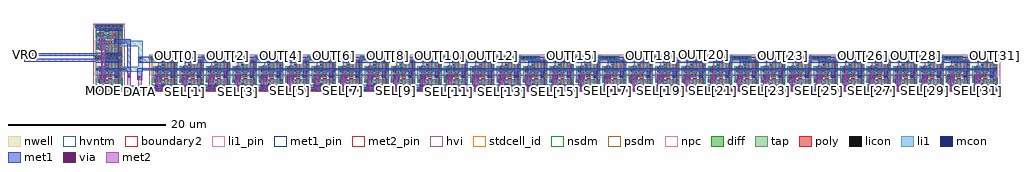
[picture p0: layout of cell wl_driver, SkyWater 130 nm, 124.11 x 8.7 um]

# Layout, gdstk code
import gdstk
lib = gdstk.Library(unit=1e-6, precision=1e-09)
def R(c, l, rs):  # rectangles x0, y0, x1, y1
    for r in rs: c.add(gdstk.rectangle(r[:2], r[2:], *l))
def A(c, l, x, y, w, h, nx, ny, dx, dy):  # array of equal rectangles
    R(c, l, [(x+i*dx, y+j*dy, x+i*dx+w, y+j*dy+h) for i in range(nx) for j in range(ny)])
def P(c, l, *ps):  # polygons
    for p in ps: c.add(gdstk.Polygon(p, *l))
nwell = (64, 20)
diff = (65, 20)
tap = (65, 44)
poly = (66, 20)
licon = (66, 44)
li1_pin = (67, 16)
li1 = (67, 20)
mcon = (67, 44)
met1_pin = (68, 16)
met1 = (68, 20)
via = (68, 44)
met2_pin = (69, 16)
met2 = (69, 20)
hvi = (75, 20)
stdcell_id = (81, 4)
nsdm = (93, 44)
psdm = (94, 20)
npc = (95, 20)
hvntm = (125, 20)
boundary2 = (236, 0)

sky130_fd_sc_hvl__einvp_ = lib.new_cell('sky130_fd_sc_hvl__einvp_1')
R(sky130_fd_sc_hvl__einvp_, nwell, [(-0.33,1.885,3.69,4.485)])
P(sky130_fd_sc_hvl__einvp_, diff, [(0.4,2.215),(0.4,2.965),(1.28,2.965),(1.28,3.715),(3.21,3.715),(3.21,2.215)],
  [(1.28,0.615),(1.28,0.945),(0.15,0.945),(0.15,1.365),(3.21,1.365),(3.21,0.615)])
R(sky130_fd_sc_hvl__einvp_, tap, [(0,-0.085,3.36,0.085), (0,3.985,2.04,4.155)])
P(sky130_fd_sc_hvl__einvp_, poly, [(1.395,1.705),(1.395,2.105),(1.565,2.105),(1.565,3.845),(2.065,3.845),(2.065,1.705)],
  [(0.435,0.14),(0.435,2.085),(0.685,2.085),(0.685,3.095),(1.185,3.095),(1.185,1.495),(0.935,1.495),(0.935,0.505),(1.565,0.505),(1.565,1.495),(2.065,1.495),(2.065,0.14)],
  [(2.425,0.485),(2.425,1.625),(2.275,1.625),(2.275,1.955),(2.425,1.955),(2.425,3.845),(2.925,3.845),(2.925,1.955),(2.945,1.955),(2.945,1.625),(2.925,1.625),(2.925,0.485)])
A(sky130_fd_sc_hvl__einvp_, licon, 0.155, -0.085, 0.17, 0.17, 7, 1, 0.48, 0)
A(sky130_fd_sc_hvl__einvp_, licon, 0.155, 3.985, 0.17, 0.17, 4, 1, 0.48, 0)
R(sky130_fd_sc_hvl__einvp_, licon, [(1.34,0.655,1.51,0.825), (2.98,0.655,3.15,0.825), (0.21,1.07,0.38,1.24), (0.99,1.07,1.16,1.24), (1.34,1.155,1.51,1.325), (2.98,1.155,3.15,1.325), (0.595,1.575,0.765,1.745), (0.935,1.575,1.105,1.745), (2.355,1.705,2.525,1.875), (2.695,1.705,2.865,1.875), (1.475,1.805,1.645,1.975), (1.815,1.805,1.985,1.975), (0.46,2.255,0.63,2.425), (2.98,2.255,3.15,2.425), (1.34,2.28,1.51,2.45), (2.98,2.67,3.15,2.84), (1.34,2.685,1.51,2.855), (0.46,2.755,0.63,2.925), (2.98,3.09,3.15,3.26), (1.34,3.1,1.51,3.27), (1.34,3.505,1.51,3.675), (2.98,3.505,3.15,3.675)])
A(sky130_fd_sc_hvl__einvp_, li1_pin, 3.035, 0.84, 0.17, 0.17, 1, 7, 0, 0.37)
A(sky130_fd_sc_hvl__einvp_, li1_pin, 2.555, 1.21, 0.17, 0.17, 1, 4, 0, 0.37)
R(sky130_fd_sc_hvl__einvp_, li1_pin, [(0.635,1.58,0.805,1.75), (1.115,1.58,1.285,1.75)])
R(sky130_fd_sc_hvl__einvp_, li1, [(0,-0.085,3.36,0.085), (0.515,1.505,1.305,1.75), (0,3.985,2.04,4.155)])
P(sky130_fd_sc_hvl__einvp_, li1, [(2.98,0.575),(2.98,1.455),(3.035,1.455),(3.035,2.125),(2.98,2.125),(2.98,4.485),(3.235,4.485),(3.235,0.575)],
  [(2.445,1.16),(2.445,1.625),(2.275,1.625),(2.275,1.955),(2.445,1.955),(2.445,2.54),(2.81,2.54),(2.81,1.955),(2.865,1.955),(2.865,1.625),(2.81,1.625),(2.81,1.16)],
  [(0.83,2.28),(0.83,3.755),(2.8,3.755),(2.8,2.71),(2.275,2.71),(2.275,2.28)],
  [(0.47,0.365),(0.47,0.735),(0.55,0.735),(0.55,1.335),(2.275,1.335),(2.275,0.99),(2.8,0.99),(2.8,0.365)],
  [(0.175,0.905),(0.175,3.005),(0.65,3.005),(0.65,2.1),(2.065,2.1),(2.065,1.725),(1.475,1.725),(1.475,1.93),(0.345,1.93),(0.345,1.335),(0.38,1.335),(0.38,0.905)])
A(sky130_fd_sc_hvl__einvp_, mcon, 0.47, 0.395, 0.17, 0.17, 7, 1, 0.36, 0)
A(sky130_fd_sc_hvl__einvp_, mcon, 0.83, 3.505, 0.17, 0.17, 6, 1, 0.36, 0)
R(sky130_fd_sc_hvl__einvp_, mcon, [(0.155,-0.085,0.325,0.085), (0.155,-0.085,0.325,0.085), (0.635,-0.085,0.805,0.085), (0.635,-0.085,0.805,0.085), (1.115,-0.085,1.285,0.085), (1.115,-0.085,1.285,0.085), (1.595,-0.085,1.765,0.085), (1.595,-0.085,1.765,0.085), (2.075,-0.085,2.245,0.085), (2.075,-0.085,2.245,0.085), (2.555,-0.085,2.725,0.085), (2.555,-0.085,2.725,0.085), (3.035,-0.085,3.205,0.085), (3.035,-0.085,3.205,0.085), (0.87,1.575,1.04,1.745), (2.5,1.705,2.67,1.875), (0.155,3.985,0.325,4.155), (0.155,3.985,0.325,4.155), (0.635,3.985,0.805,4.155), (0.635,3.985,0.805,4.155), (1.115,3.985,1.285,4.155), (1.115,3.985,1.285,4.155), (1.595,3.985,1.765,4.155), (1.595,3.985,1.765,4.155)])
R(sky130_fd_sc_hvl__einvp_, met1_pin, [(0,0,3.36,0.115), (0,0.255,3.36,0.625), (0,3.445,3.36,3.815), (0,3.955,2.82,4.07)])
R(sky130_fd_sc_hvl__einvp_, met1, [(0,-0.115,3.36,0.115), (0,0.255,3.36,0.625), (0.61,1.37,1.23,1.9), (2.42,1.54,2.82,2.49), (0,2.49,3.36,2.73), (0,3.445,3.36,3.815), (0,3.955,2.82,4.185)])
R(sky130_fd_sc_hvl__einvp_, via, [(0.87,1.57,1.04,1.74)])
R(sky130_fd_sc_hvl__einvp_, met2, [(0.7,-0.22,1.17,1.9)])
R(sky130_fd_sc_hvl__einvp_, hvi, [(-0.33,-0.265,3.69,4.485)])
R(sky130_fd_sc_hvl__einvp_, stdcell_id, [(0,0,3.36,4.07)])
R(sky130_fd_sc_hvl__einvp_, nsdm, [(0,0.215,3.36,1.885), (-0.13,3.855,2.31,4.285), (0,3.855,2.31,4.07)])
R(sky130_fd_sc_hvl__einvp_, psdm, [(-0.13,-0.215,3.49,0.215)])
P(sky130_fd_sc_hvl__einvp_, psdm, [(0,1.885),(0,3.855),(3.36,3.855),(3.36,1.985),(2.095,1.985),(2.095,2.085),(1.365,2.085),(1.365,1.885)])
P(sky130_fd_sc_hvl__einvp_, npc, [(0.495,1.475),(0.495,1.545),(0,1.545),(0,1.97),(1.375,1.97),(1.375,2.075),(2.085,2.075),(2.085,1.975),(3.36,1.975),(3.36,1.545),(1.205,1.545),(1.205,1.475)])
R(sky130_fd_sc_hvl__einvp_, hvntm, [(-0.035,0.35,3.395,1.64)])
R(sky130_fd_sc_hvl__einvp_, boundary2, [(0,0,3.36,4.07)])
sky130_fd_sc_hvl__einvp_.add(gdstk.Label('A', (2.64,2.035), layer=67, texttype=5))
sky130_fd_sc_hvl__einvp_.add(gdstk.Label('A', (2.64,1.665), layer=67, texttype=5))
sky130_fd_sc_hvl__einvp_.add(gdstk.Label('TE', (0.72,1.665), layer=67, texttype=5))
sky130_fd_sc_hvl__einvp_.add(gdstk.Label('TE', (1.2,1.665), layer=67, texttype=5))
sky130_fd_sc_hvl__einvp_.add(gdstk.Label('Z', (3.12,0.925), layer=67, texttype=5))
sky130_fd_sc_hvl__einvp_.add(gdstk.Label('Z', (3.12,1.295), layer=67, texttype=5))
sky130_fd_sc_hvl__einvp_.add(gdstk.Label('Z', (3.12,1.665), layer=67, texttype=5))
sky130_fd_sc_hvl__einvp_.add(gdstk.Label('Z', (3.12,2.035), layer=67, texttype=5))
sky130_fd_sc_hvl__einvp_.add(gdstk.Label('Z', (3.12,2.405), layer=67, texttype=5))
sky130_fd_sc_hvl__einvp_.add(gdstk.Label('Z', (3.12,2.775), layer=67, texttype=5))
sky130_fd_sc_hvl__einvp_.add(gdstk.Label('Z', (3.12,3.145), layer=67, texttype=5))
sky130_fd_sc_hvl__einvp_.add(gdstk.Label('A', (2.64,1.295), layer=67, texttype=5))
sky130_fd_sc_hvl__einvp_.add(gdstk.Label('A', (2.64,2.405), layer=67, texttype=5))
sky130_fd_sc_hvl__einvp_.add(gdstk.Label('einvp_1', (0,0), layer=83, texttype=44))
sky130_fd_sc_hvl__einvp_.add(gdstk.Label('VGND', (1.68,0.44), layer=68, texttype=5))
sky130_fd_sc_hvl__einvp_.add(gdstk.Label('VNB', (1.68,0.058), layer=68, texttype=5))
sky130_fd_sc_hvl__einvp_.add(gdstk.Label('VPWR', (1.68,3.63), layer=68, texttype=5))
sky130_fd_sc_hvl__einvp_.add(gdstk.Label('VPB', (1.68,4.013), layer=68, texttype=5))

sky130_fd_sc_hvl__einvn_ = lib.new_cell('sky130_fd_sc_hvl__einvn_1')
R(sky130_fd_sc_hvl__einvn_, nwell, [(-0.33,1.885,3.69,4.485)])
P(sky130_fd_sc_hvl__einvn_, diff, [(1.315,2.215),(1.315,2.235),(0.225,2.235),(0.225,2.985),(1.23,2.985),(1.23,3.715),(3.18,3.715),(3.18,2.215)],
  [(1.06,0.535),(1.06,0.865),(0.15,0.865),(0.15,1.285),(3.18,1.285),(3.18,0.535)])
R(sky130_fd_sc_hvl__einvn_, tap, [(0,-0.085,3.36,0.085), (0,3.985,2.82,4.155)])
P(sky130_fd_sc_hvl__einvn_, poly, [(0.415,0.735),(0.415,2.105),(0.51,2.105),(0.51,3.115),(1.01,3.115),(1.01,2.105),(1.565,2.105),(1.565,3.845),(2.065,3.845),(2.065,1.94),(1.185,1.94),(1.185,1.605),(0.915,1.605),(0.915,0.735)],
  [(1.685,0.405),(1.685,1.395),(1.395,1.395),(1.395,1.73),(2.065,1.73),(2.065,1.515),(2.185,1.515),(2.185,0.405)],
  [(2.395,0.405),(2.395,1.725),(2.275,1.725),(2.275,2.055),(2.395,2.055),(2.395,3.845),(2.895,3.845),(2.895,0.405)])
A(sky130_fd_sc_hvl__einvn_, licon, 0.155, -0.085, 0.17, 0.17, 7, 2, 0.48, 4.07)
R(sky130_fd_sc_hvl__einvn_, licon, [(1.12,0.575,1.29,0.745), (1.46,0.575,1.63,0.745), (2.95,0.575,3.12,0.745), (0.19,0.99,0.36,1.16), (0.97,1.075,1.14,1.245), (1.46,1.075,1.63,1.245), (2.95,1.075,3.12,1.245), (1.475,1.475,1.645,1.645), (1.815,1.475,1.985,1.645), (2.61,1.475,2.78,1.645), (2.355,1.805,2.525,1.975), (0.595,1.825,0.765,1.995), (0.935,1.825,1.105,1.995), (2.95,2.255,3.12,2.425), (0.285,2.275,0.455,2.445), (1.29,2.3,1.46,2.47), (2.95,2.67,3.12,2.84), (1.29,2.7,1.46,2.87), (0.285,2.775,0.455,2.945), (2.95,3.09,3.12,3.26), (1.29,3.105,1.46,3.275), (1.29,3.505,1.46,3.675), (2.95,3.505,3.12,3.675)])
A(sky130_fd_sc_hvl__einvn_, li1_pin, 3.035, 0.84, 0.17, 0.17, 1, 7, 0, 0.37)
A(sky130_fd_sc_hvl__einvn_, li1_pin, 2.555, 1.21, 0.17, 0.17, 1, 4, 0, 0.37)
A(sky130_fd_sc_hvl__einvn_, li1_pin, 0.635, 1.95, 0.17, 0.17, 3, 1, 0.48, 0)
R(sky130_fd_sc_hvl__einvn_, li1, [(0,-0.085,3.36,0.085), (2.95,0.495,3.235,3.755), (0,3.985,2.66,4.155)])
P(sky130_fd_sc_hvl__einvn_, li1, [(0.515,1.825),(0.515,2.025),(0.635,2.025),(0.635,2.12),(1.795,2.12),(1.795,1.825)],
  [(0.09,0.91),(0.09,3.025),(0.535,3.025),(0.535,2.3),(0.455,2.3),(0.455,2.195),(0.345,2.195),(0.345,1.645),(2.065,1.645),(2.065,1.425),(0.44,1.425),(0.44,0.91)],
  [(2.505,1.16),(2.505,1.725),(2.275,1.725),(2.275,2.54),(2.78,2.54),(2.78,1.16)],
  [(0.74,2.3),(0.74,3.755),(2.77,3.755),(2.77,2.71),(2.105,2.71),(2.105,2.3)],
  [(0.44,0.365),(0.44,0.74),(0.61,0.74),(0.61,1.245),(2.335,1.245),(2.335,0.9),(2.77,0.9),(2.77,0.365)])
A(sky130_fd_sc_hvl__einvn_, mcon, 0.44, 0.395, 0.17, 0.17, 7, 1, 0.36, 0)
A(sky130_fd_sc_hvl__einvn_, mcon, 0.77, 3.505, 0.17, 0.17, 6, 1, 0.36, 0)
R(sky130_fd_sc_hvl__einvn_, mcon, [(0.155,-0.085,0.325,0.085), (0.155,-0.085,0.325,0.085), (0.635,-0.085,0.805,0.085), (0.635,-0.085,0.805,0.085), (1.115,-0.085,1.285,0.085), (1.115,-0.085,1.285,0.085), (1.595,-0.085,1.765,0.085), (1.595,-0.085,1.765,0.085), (2.075,-0.085,2.245,0.085), (2.075,-0.085,2.245,0.085), (2.555,-0.085,2.725,0.085), (2.555,-0.085,2.725,0.085), (3.035,-0.085,3.205,0.085), (3.035,-0.085,3.205,0.085), (0.155,3.985,0.325,4.155), (0.155,3.985,0.325,4.155), (0.635,3.985,0.805,4.155), (0.635,3.985,0.805,4.155), (1.115,3.985,1.285,4.155), (1.115,3.985,1.285,4.155), (1.595,3.985,1.765,4.155), (1.595,3.985,1.765,4.155), (2.075,3.985,2.245,4.155), (2.075,3.985,2.245,4.155), (2.555,3.985,2.725,4.155), (2.555,3.985,2.725,4.155)])
R(sky130_fd_sc_hvl__einvn_, met1_pin, [(0,0,3.36,0.115), (0,0.255,3.36,0.625), (0,3.445,3.36,3.815), (0,3.955,2.82,4.07)])
R(sky130_fd_sc_hvl__einvn_, met1, [(0,-0.115,3.36,0.115), (0,0.255,3.36,0.625), (0,3.445,3.36,3.815), (0,3.955,2.82,4.185)])
R(sky130_fd_sc_hvl__einvn_, hvi, [(-0.33,-0.265,3.69,4.485)])
R(sky130_fd_sc_hvl__einvn_, stdcell_id, [(0,0,3.36,4.07)])
R(sky130_fd_sc_hvl__einvn_, nsdm, [(0,0.215,3.36,1.885), (-0.13,3.855,2.97,4.285), (0,3.855,3.36,4.07)])
R(sky130_fd_sc_hvl__einvn_, psdm, [(-0.13,-0.215,3.49,0.215)])
P(sky130_fd_sc_hvl__einvn_, psdm, [(0,1.885),(0,3.855),(3.36,3.855),(3.36,1.885),(2.635,1.885),(2.635,2.085),(2.245,2.085),(2.245,1.885),(1.215,1.885),(1.215,2.105),(0.485,2.105),(0.485,1.885)])
P(sky130_fd_sc_hvl__einvn_, npc, [(1.375,1.375),(1.375,1.545),(0,1.545),(0,1.97),(0.495,1.97),(0.495,2.095),(1.205,2.095),(1.205,1.97),(2.255,1.97),(2.255,2.075),(2.625,2.075),(2.625,1.97),(3.36,1.97),(3.36,1.545),(2.88,1.545),(2.88,1.375)])
R(sky130_fd_sc_hvl__einvn_, hvntm, [(-0.035,0.35,3.395,1.64)])
R(sky130_fd_sc_hvl__einvn_, boundary2, [(0,0,3.36,4.07)])
sky130_fd_sc_hvl__einvn_.add(gdstk.Label('TE_B', (0.72,2.035), layer=67, texttype=5))
sky130_fd_sc_hvl__einvn_.add(gdstk.Label('TE_B', (1.2,2.035), layer=67, texttype=5))
sky130_fd_sc_hvl__einvn_.add(gdstk.Label('TE_B', (1.68,2.035), layer=67, texttype=5))
sky130_fd_sc_hvl__einvn_.add(gdstk.Label('A', (2.64,1.295), layer=67, texttype=5))
sky130_fd_sc_hvl__einvn_.add(gdstk.Label('A', (2.64,2.405), layer=67, texttype=5))
sky130_fd_sc_hvl__einvn_.add(gdstk.Label('A', (2.64,1.665), layer=67, texttype=5))
sky130_fd_sc_hvl__einvn_.add(gdstk.Label('A', (2.64,2.035), layer=67, texttype=5))
sky130_fd_sc_hvl__einvn_.add(gdstk.Label('Z', (3.12,0.925), layer=67, texttype=5))
sky130_fd_sc_hvl__einvn_.add(gdstk.Label('Z', (3.12,1.295), layer=67, texttype=5))
sky130_fd_sc_hvl__einvn_.add(gdstk.Label('Z', (3.12,1.665), layer=67, texttype=5))
sky130_fd_sc_hvl__einvn_.add(gdstk.Label('Z', (3.12,2.035), layer=67, texttype=5))
sky130_fd_sc_hvl__einvn_.add(gdstk.Label('Z', (3.12,2.405), layer=67, texttype=5))
sky130_fd_sc_hvl__einvn_.add(gdstk.Label('Z', (3.12,2.775), layer=67, texttype=5))
sky130_fd_sc_hvl__einvn_.add(gdstk.Label('Z', (3.12,3.145), layer=67, texttype=5))
sky130_fd_sc_hvl__einvn_.add(gdstk.Label('einvn_1', (0,0), layer=83, texttype=44))
sky130_fd_sc_hvl__einvn_.add(gdstk.Label('VGND', (1.68,0.44), layer=68, texttype=5))
sky130_fd_sc_hvl__einvn_.add(gdstk.Label('VNB', (1.68,0.058), layer=68, texttype=5))
sky130_fd_sc_hvl__einvn_.add(gdstk.Label('VPWR', (1.68,3.63), layer=68, texttype=5))
sky130_fd_sc_hvl__einvn_.add(gdstk.Label('VPB', (1.68,4.013), layer=68, texttype=5))

wl_driver = lib.new_cell('wl_driver')
A(wl_driver, li1_pin, 6.74, 0.05, 0.25, 0.29, 32, 1, 3.36, 0)
R(wl_driver, li1, [(-0.38,-1.85,2.6,-1.19), (2.03,-1.85,2.6,2.12), (-0.41,1.43,2.5,2.12)])
R(wl_driver, mcon, [(2.23,-0.595,2.4,-0.425), (2.23,-0.235,2.4,-0.065), (2.23,-0.235,2.4,-0.065), (-2.49,1.955,-2.32,2.125), (-0.92,1.985,-0.75,2.155)])
R(wl_driver, met1_pin, [(-12.5,-0.53,-11.85,-0.17), (-12.5,0.19,-11.86,0.55)])
R(wl_driver, met1, [(-3.36,-4.17,111.28,-3.63), (1.91,-2.84,2.53,-2.31), (1.91,-2.84,2.53,-2.31), (1.91,-2.84,2.53,-2.31), (1.91,-2.84,2.53,-2.31), (1.91,-2.83,2.53,-1.41), (0.62,-2.59,1.06,2.31), (-0.05,-1.65,0.69,-1.41), (1.91,-1.65,3.76,-1.41), (2.03,-0.69,111.28,0.05), (-12.5,-0.53,-0.54,-0.17), (-12.5,0.19,0,0.55), (-2.66,1.76,-2.19,2.29), (-1.04,1.81,1.06,2.31), (-3.36,3.46,0,4.12)])
R(wl_driver, via, [(2.14,-2.61,2.31,-2.44), (0.75,-2.44,0.92,-2.27), (-2.49,1.96,-2.32,2.13)])
A(wl_driver, met2_pin, 4.46, -4.36, 0.47, 2.12, 32, 1, 3.36, 0)
R(wl_driver, met2_pin, [(0.62,-4.43,1.09,-2.31), (2,-4.43,2.47,-2.31), (-2.66,-4.36,-2.19,-2.24)])
R(wl_driver, met2, [(0.62,-4.43,1.09,-2.1), (2,-4.43,2.47,-2.31), (2,-4.43,2.47,-2.31), (2,-4.43,2.47,-2.31), (2,-4.43,2.47,-2.31), (-2.66,-2.66,-2.19,2.29)])
r = gdstk.Reference(sky130_fd_sc_hvl__einvp_, (-3.36,-4.14)); r.repetition = gdstk.Repetition(1, 1, v1=(0,0), v2=(0,0)); wl_driver.add(r)
r = gdstk.Reference(sky130_fd_sc_hvl__einvp_, (57.52,-4.14)); r.repetition = gdstk.Repetition(1, 1, v1=(0,0), v2=(0,0)); wl_driver.add(r)
r = gdstk.Reference(sky130_fd_sc_hvl__einvp_, (60.88,-4.14)); r.repetition = gdstk.Repetition(1, 1, v1=(0,0), v2=(0,0)); wl_driver.add(r)
r = gdstk.Reference(sky130_fd_sc_hvl__einvp_, (64.24,-4.14)); r.repetition = gdstk.Repetition(1, 1, v1=(0,0), v2=(0,0)); wl_driver.add(r)
r = gdstk.Reference(sky130_fd_sc_hvl__einvp_, (67.6,-4.14)); r.repetition = gdstk.Repetition(1, 1, v1=(0,0), v2=(0,0)); wl_driver.add(r)
r = gdstk.Reference(sky130_fd_sc_hvl__einvp_, (64.24,-4.14)); r.repetition = gdstk.Repetition(1, 1, v1=(0,0), v2=(0,0)); wl_driver.add(r)
r = gdstk.Reference(sky130_fd_sc_hvl__einvp_, (70.96,-4.14)); r.repetition = gdstk.Repetition(1, 1, v1=(0,0), v2=(0,0)); wl_driver.add(r)
r = gdstk.Reference(sky130_fd_sc_hvl__einvp_, (74.32,-4.14)); r.repetition = gdstk.Repetition(1, 1, v1=(0,0), v2=(0,0)); wl_driver.add(r)
r = gdstk.Reference(sky130_fd_sc_hvl__einvp_, (77.68,-4.14)); r.repetition = gdstk.Repetition(1, 1, v1=(0,0), v2=(0,0)); wl_driver.add(r)
r = gdstk.Reference(sky130_fd_sc_hvl__einvp_, (81.04,-4.14)); r.repetition = gdstk.Repetition(1, 1, v1=(0,0), v2=(0,0)); wl_driver.add(r)
r = gdstk.Reference(sky130_fd_sc_hvl__einvp_, (77.68,-4.14)); r.repetition = gdstk.Repetition(1, 1, v1=(0,0), v2=(0,0)); wl_driver.add(r)
r = gdstk.Reference(sky130_fd_sc_hvl__einvp_, (70.96,-4.14)); r.repetition = gdstk.Repetition(1, 1, v1=(0,0), v2=(0,0)); wl_driver.add(r)
r = gdstk.Reference(sky130_fd_sc_hvl__einvp_, (84.4,-4.14)); r.repetition = gdstk.Repetition(1, 1, v1=(0,0), v2=(0,0)); wl_driver.add(r)
r = gdstk.Reference(sky130_fd_sc_hvl__einvp_, (87.76,-4.14)); r.repetition = gdstk.Repetition(1, 1, v1=(0,0), v2=(0,0)); wl_driver.add(r)
r = gdstk.Reference(sky130_fd_sc_hvl__einvp_, (91.12,-4.14)); r.repetition = gdstk.Repetition(1, 1, v1=(0,0), v2=(0,0)); wl_driver.add(r)
r = gdstk.Reference(sky130_fd_sc_hvl__einvp_, (94.48,-4.14)); r.repetition = gdstk.Repetition(1, 1, v1=(0,0), v2=(0,0)); wl_driver.add(r)
r = gdstk.Reference(sky130_fd_sc_hvl__einvp_, (91.12,-4.14)); r.repetition = gdstk.Repetition(1, 1, v1=(0,0), v2=(0,0)); wl_driver.add(r)
r = gdstk.Reference(sky130_fd_sc_hvl__einvn_, (-3.36,4), x_reflection=True); r.repetition = gdstk.Repetition(1, 1, v1=(0,0), v2=(0,0)); wl_driver.add(r)
r = gdstk.Reference(sky130_fd_sc_hvl__einvp_, (97.84,-4.14)); r.repetition = gdstk.Repetition(1, 1, v1=(0,0), v2=(0,0)); wl_driver.add(r)
r = gdstk.Reference(sky130_fd_sc_hvl__einvp_, (101.2,-4.14)); r.repetition = gdstk.Repetition(1, 1, v1=(0,0), v2=(0,0)); wl_driver.add(r)
r = gdstk.Reference(sky130_fd_sc_hvl__einvp_, (104.56,-4.14)); r.repetition = gdstk.Repetition(1, 1, v1=(0,0), v2=(0,0)); wl_driver.add(r)
r = gdstk.Reference(sky130_fd_sc_hvl__einvp_, (107.92,-4.14)); r.repetition = gdstk.Repetition(1, 1, v1=(0,0), v2=(0,0)); wl_driver.add(r)
r = gdstk.Reference(sky130_fd_sc_hvl__einvp_, (57.52,-4.14)); r.repetition = gdstk.Repetition(1, 1, v1=(0,0), v2=(0,0)); wl_driver.add(r)
r = gdstk.Reference(sky130_fd_sc_hvl__einvp_, (104.56,-4.14)); r.repetition = gdstk.Repetition(1, 1, v1=(0,0), v2=(0,0)); wl_driver.add(r)
r = gdstk.Reference(sky130_fd_sc_hvl__einvp_, (97.84,-4.14)); r.repetition = gdstk.Repetition(1, 1, v1=(0,0), v2=(0,0)); wl_driver.add(r)
r = gdstk.Reference(sky130_fd_sc_hvl__einvp_, (84.4,-4.14)); r.repetition = gdstk.Repetition(1, 1, v1=(0,0), v2=(0,0)); wl_driver.add(r)
r = gdstk.Reference(sky130_fd_sc_hvl__einvp_, (3.76,-4.14)); r.repetition = gdstk.Repetition(1, 1, v1=(0,0), v2=(0,0)); wl_driver.add(r)
r = gdstk.Reference(sky130_fd_sc_hvl__einvp_, (3.76,-4.14)); r.repetition = gdstk.Repetition(1, 1, v1=(0,0), v2=(0,0)); wl_driver.add(r)
r = gdstk.Reference(sky130_fd_sc_hvl__einvp_, (7.12,-4.14)); r.repetition = gdstk.Repetition(1, 1, v1=(0,0), v2=(0,0)); wl_driver.add(r)
r = gdstk.Reference(sky130_fd_sc_hvl__einvp_, (7.12,-4.14)); r.repetition = gdstk.Repetition(1, 1, v1=(0,0), v2=(0,0)); wl_driver.add(r)
r = gdstk.Reference(sky130_fd_sc_hvl__einvp_, (10.48,-4.14)); r.repetition = gdstk.Repetition(1, 1, v1=(0,0), v2=(0,0)); wl_driver.add(r)
r = gdstk.Reference(sky130_fd_sc_hvl__einvp_, (10.48,-4.14)); r.repetition = gdstk.Repetition(1, 1, v1=(0,0), v2=(0,0)); wl_driver.add(r)
r = gdstk.Reference(sky130_fd_sc_hvl__einvp_, (13.84,-4.14)); r.repetition = gdstk.Repetition(1, 1, v1=(0,0), v2=(0,0)); wl_driver.add(r)
r = gdstk.Reference(sky130_fd_sc_hvl__einvp_, (13.84,-4.14)); r.repetition = gdstk.Repetition(1, 1, v1=(0,0), v2=(0,0)); wl_driver.add(r)
r = gdstk.Reference(sky130_fd_sc_hvl__einvp_, (10.48,-4.14)); r.repetition = gdstk.Repetition(1, 1, v1=(0,0), v2=(0,0)); wl_driver.add(r)
r = gdstk.Reference(sky130_fd_sc_hvl__einvp_, (10.48,-4.14)); r.repetition = gdstk.Repetition(1, 1, v1=(0,0), v2=(0,0)); wl_driver.add(r)
r = gdstk.Reference(sky130_fd_sc_hvl__einvp_, (17.2,-4.14)); r.repetition = gdstk.Repetition(1, 1, v1=(0,0), v2=(0,0)); wl_driver.add(r)
r = gdstk.Reference(sky130_fd_sc_hvl__einvp_, (17.2,-4.14)); r.repetition = gdstk.Repetition(1, 1, v1=(0,0), v2=(0,0)); wl_driver.add(r)
r = gdstk.Reference(sky130_fd_sc_hvl__einvp_, (20.56,-4.14)); r.repetition = gdstk.Repetition(1, 1, v1=(0,0), v2=(0,0)); wl_driver.add(r)
r = gdstk.Reference(sky130_fd_sc_hvl__einvp_, (20.56,-4.14)); r.repetition = gdstk.Repetition(1, 1, v1=(0,0), v2=(0,0)); wl_driver.add(r)
r = gdstk.Reference(sky130_fd_sc_hvl__einvp_, (23.92,-4.14)); r.repetition = gdstk.Repetition(1, 1, v1=(0,0), v2=(0,0)); wl_driver.add(r)
r = gdstk.Reference(sky130_fd_sc_hvl__einvp_, (23.92,-4.14)); r.repetition = gdstk.Repetition(1, 1, v1=(0,0), v2=(0,0)); wl_driver.add(r)
r = gdstk.Reference(sky130_fd_sc_hvl__einvp_, (27.28,-4.14)); r.repetition = gdstk.Repetition(1, 1, v1=(0,0), v2=(0,0)); wl_driver.add(r)
r = gdstk.Reference(sky130_fd_sc_hvl__einvp_, (27.28,-4.14)); r.repetition = gdstk.Repetition(1, 1, v1=(0,0), v2=(0,0)); wl_driver.add(r)
r = gdstk.Reference(sky130_fd_sc_hvl__einvp_, (23.92,-4.14)); r.repetition = gdstk.Repetition(1, 1, v1=(0,0), v2=(0,0)); wl_driver.add(r)
r = gdstk.Reference(sky130_fd_sc_hvl__einvp_, (23.92,-4.14)); r.repetition = gdstk.Repetition(1, 1, v1=(0,0), v2=(0,0)); wl_driver.add(r)
r = gdstk.Reference(sky130_fd_sc_hvl__einvp_, (17.2,-4.14)); r.repetition = gdstk.Repetition(1, 1, v1=(0,0), v2=(0,0)); wl_driver.add(r)
r = gdstk.Reference(sky130_fd_sc_hvl__einvp_, (17.2,-4.14)); r.repetition = gdstk.Repetition(1, 1, v1=(0,0), v2=(0,0)); wl_driver.add(r)
r = gdstk.Reference(sky130_fd_sc_hvl__einvp_, (30.64,-4.14)); r.repetition = gdstk.Repetition(1, 1, v1=(0,0), v2=(0,0)); wl_driver.add(r)
r = gdstk.Reference(sky130_fd_sc_hvl__einvp_, (30.64,-4.14)); r.repetition = gdstk.Repetition(1, 1, v1=(0,0), v2=(0,0)); wl_driver.add(r)
r = gdstk.Reference(sky130_fd_sc_hvl__einvp_, (34,-4.14)); r.repetition = gdstk.Repetition(1, 1, v1=(0,0), v2=(0,0)); wl_driver.add(r)
r = gdstk.Reference(sky130_fd_sc_hvl__einvp_, (34,-4.14)); r.repetition = gdstk.Repetition(1, 1, v1=(0,0), v2=(0,0)); wl_driver.add(r)
r = gdstk.Reference(sky130_fd_sc_hvl__einvp_, (37.36,-4.14)); r.repetition = gdstk.Repetition(1, 1, v1=(0,0), v2=(0,0)); wl_driver.add(r)
r = gdstk.Reference(sky130_fd_sc_hvl__einvp_, (37.36,-4.14)); r.repetition = gdstk.Repetition(1, 1, v1=(0,0), v2=(0,0)); wl_driver.add(r)
r = gdstk.Reference(sky130_fd_sc_hvl__einvp_, (40.72,-4.14)); r.repetition = gdstk.Repetition(1, 1, v1=(0,0), v2=(0,0)); wl_driver.add(r)
r = gdstk.Reference(sky130_fd_sc_hvl__einvp_, (40.72,-4.14)); r.repetition = gdstk.Repetition(1, 1, v1=(0,0), v2=(0,0)); wl_driver.add(r)
r = gdstk.Reference(sky130_fd_sc_hvl__einvp_, (37.36,-4.14)); r.repetition = gdstk.Repetition(1, 1, v1=(0,0), v2=(0,0)); wl_driver.add(r)
r = gdstk.Reference(sky130_fd_sc_hvl__einvp_, (37.36,-4.14)); r.repetition = gdstk.Repetition(1, 1, v1=(0,0), v2=(0,0)); wl_driver.add(r)
r = gdstk.Reference(sky130_fd_sc_hvl__einvp_, (44.08,-4.14)); r.repetition = gdstk.Repetition(1, 1, v1=(0,0), v2=(0,0)); wl_driver.add(r)
r = gdstk.Reference(sky130_fd_sc_hvl__einvp_, (44.08,-4.14)); r.repetition = gdstk.Repetition(1, 1, v1=(0,0), v2=(0,0)); wl_driver.add(r)
r = gdstk.Reference(sky130_fd_sc_hvl__einvp_, (47.44,-4.14)); r.repetition = gdstk.Repetition(1, 1, v1=(0,0), v2=(0,0)); wl_driver.add(r)
r = gdstk.Reference(sky130_fd_sc_hvl__einvp_, (47.44,-4.14)); r.repetition = gdstk.Repetition(1, 1, v1=(0,0), v2=(0,0)); wl_driver.add(r)
r = gdstk.Reference(sky130_fd_sc_hvl__einvp_, (50.8,-4.14)); r.repetition = gdstk.Repetition(1, 1, v1=(0,0), v2=(0,0)); wl_driver.add(r)
r = gdstk.Reference(sky130_fd_sc_hvl__einvp_, (50.8,-4.14)); r.repetition = gdstk.Repetition(1, 1, v1=(0,0), v2=(0,0)); wl_driver.add(r)
r = gdstk.Reference(sky130_fd_sc_hvl__einvp_, (54.16,-4.14)); r.repetition = gdstk.Repetition(1, 1, v1=(0,0), v2=(0,0)); wl_driver.add(r)
r = gdstk.Reference(sky130_fd_sc_hvl__einvp_, (54.16,-4.14)); r.repetition = gdstk.Repetition(1, 1, v1=(0,0), v2=(0,0)); wl_driver.add(r)
r = gdstk.Reference(sky130_fd_sc_hvl__einvp_, (3.76,-4.14)); r.repetition = gdstk.Repetition(1, 1, v1=(0,0), v2=(0,0)); wl_driver.add(r)
r = gdstk.Reference(sky130_fd_sc_hvl__einvp_, (3.76,-4.14)); r.repetition = gdstk.Repetition(1, 1, v1=(0,0), v2=(0,0)); wl_driver.add(r)
r = gdstk.Reference(sky130_fd_sc_hvl__einvp_, (50.8,-4.14)); r.repetition = gdstk.Repetition(1, 1, v1=(0,0), v2=(0,0)); wl_driver.add(r)
r = gdstk.Reference(sky130_fd_sc_hvl__einvp_, (50.8,-4.14)); r.repetition = gdstk.Repetition(1, 1, v1=(0,0), v2=(0,0)); wl_driver.add(r)
r = gdstk.Reference(sky130_fd_sc_hvl__einvp_, (44.08,-4.14)); r.repetition = gdstk.Repetition(1, 1, v1=(0,0), v2=(0,0)); wl_driver.add(r)
r = gdstk.Reference(sky130_fd_sc_hvl__einvp_, (44.08,-4.14)); r.repetition = gdstk.Repetition(1, 1, v1=(0,0), v2=(0,0)); wl_driver.add(r)
r = gdstk.Reference(sky130_fd_sc_hvl__einvp_, (30.64,-4.14)); r.repetition = gdstk.Repetition(1, 1, v1=(0,0), v2=(0,0)); wl_driver.add(r)
r = gdstk.Reference(sky130_fd_sc_hvl__einvp_, (30.64,-4.14)); r.repetition = gdstk.Repetition(1, 1, v1=(0,0), v2=(0,0)); wl_driver.add(r)
wl_driver.add(gdstk.Label('OUT[31]', (111.03,0.27), layer=67, texttype=5))
wl_driver.add(gdstk.Label('OUT[30]', (107.64,0.26), layer=67, texttype=5))
wl_driver.add(gdstk.Label('OUT[29]', (104.3,0.28), layer=67, texttype=5))
wl_driver.add(gdstk.Label('OUT[28]', (100.97,0.29), layer=67, texttype=5))
wl_driver.add(gdstk.Label('OUT[27]', (97.62,0.28), layer=67, texttype=5))
wl_driver.add(gdstk.Label('OUT[26]', (94.23,0.27), layer=67, texttype=5))
wl_driver.add(gdstk.Label('OUT[25]', (90.89,0.29), layer=67, texttype=5))
wl_driver.add(gdstk.Label('OUT[24]', (87.56,0.3), layer=67, texttype=5))
wl_driver.add(gdstk.Label('OUT[23]', (84.13,0.29), layer=67, texttype=5))
wl_driver.add(gdstk.Label('OUT[22]', (80.74,0.28), layer=67, texttype=5))
wl_driver.add(gdstk.Label('OUT[21]', (77.4,0.3), layer=67, texttype=5))
wl_driver.add(gdstk.Label('OUT[20]', (74.07,0.31), layer=67, texttype=5))
wl_driver.add(gdstk.Label('OUT[19]', (70.71,0.27), layer=67, texttype=5))
wl_driver.add(gdstk.Label('OUT[18]', (67.32,0.26), layer=67, texttype=5))
wl_driver.add(gdstk.Label('OUT[17]', (63.98,0.28), layer=67, texttype=5))
wl_driver.add(gdstk.Label('OUT[16]', (60.65,0.29), layer=67, texttype=5))
wl_driver.add(gdstk.Label('OUT[15]', (57.26,0.23), layer=67, texttype=5))
wl_driver.add(gdstk.Label('OUT[14]', (53.87,0.22), layer=67, texttype=5))
wl_driver.add(gdstk.Label('OUT[13]', (50.53,0.24), layer=67, texttype=5))
wl_driver.add(gdstk.Label('OUT[12]', (47.2,0.25), layer=67, texttype=5))
wl_driver.add(gdstk.Label('OUT[11]', (43.85,0.24), layer=67, texttype=5))
wl_driver.add(gdstk.Label('OUT[10]', (40.46,0.23), layer=67, texttype=5))
wl_driver.add(gdstk.Label('OUT[9]', (37.12,0.25), layer=67, texttype=5))
wl_driver.add(gdstk.Label('OUT[8]', (33.79,0.26), layer=67, texttype=5))
wl_driver.add(gdstk.Label('OUT[7]', (30.36,0.25), layer=67, texttype=5))
wl_driver.add(gdstk.Label('OUT[6]', (26.97,0.24), layer=67, texttype=5))
wl_driver.add(gdstk.Label('OUT[5]', (23.63,0.26), layer=67, texttype=5))
wl_driver.add(gdstk.Label('OUT[4]', (20.3,0.27), layer=67, texttype=5))
wl_driver.add(gdstk.Label('OUT[3]', (16.94,0.23), layer=67, texttype=5))
wl_driver.add(gdstk.Label('OUT[2]', (13.55,0.22), layer=67, texttype=5))
wl_driver.add(gdstk.Label('OUT[1]', (10.21,0.24), layer=67, texttype=5))
wl_driver.add(gdstk.Label('OUT[0]', (6.88,0.25), layer=67, texttype=5))
wl_driver.add(gdstk.Label('VRO', (-12.34,0.35), layer=68, texttype=5))
wl_driver.add(gdstk.Label('VHV', (-12.27,-0.35), layer=68, texttype=5))
wl_driver.add(gdstk.Label('MODE', (-2.44,-4.27), layer=69, texttype=5))
wl_driver.add(gdstk.Label('G_ENABLE', (0.82,-4.29), layer=69, texttype=5))
wl_driver.add(gdstk.Label('DATA', (2.22,-4.31), layer=69, texttype=5))
wl_driver.add(gdstk.Label('SEL[0]', (4.68,-4.27), layer=69, texttype=5))
wl_driver.add(gdstk.Label('SEL[1]', (8.01,-4.28), layer=69, texttype=5))
wl_driver.add(gdstk.Label('SEL[2]', (11.35,-4.3), layer=69, texttype=5))
wl_driver.add(gdstk.Label('SEL[3]', (14.74,-4.29), layer=69, texttype=5))
wl_driver.add(gdstk.Label('SEL[4]', (18.1,-4.25), layer=69, texttype=5))
wl_driver.add(gdstk.Label('SEL[5]', (21.43,-4.26), layer=69, texttype=5))
wl_driver.add(gdstk.Label('SEL[6]', (24.77,-4.28), layer=69, texttype=5))
wl_driver.add(gdstk.Label('SEL[7]', (28.16,-4.27), layer=69, texttype=5))
wl_driver.add(gdstk.Label('SEL[8]', (31.59,-4.26), layer=69, texttype=5))
wl_driver.add(gdstk.Label('SEL[9]', (34.92,-4.27), layer=69, texttype=5))
wl_driver.add(gdstk.Label('SEL[10]', (38.26,-4.29), layer=69, texttype=5))
wl_driver.add(gdstk.Label('SEL[11]', (41.65,-4.28), layer=69, texttype=5))
wl_driver.add(gdstk.Label('SEL[12]', (45,-4.27), layer=69, texttype=5))
wl_driver.add(gdstk.Label('SEL[13]', (48.33,-4.28), layer=69, texttype=5))
wl_driver.add(gdstk.Label('SEL[14]', (51.67,-4.3), layer=69, texttype=5))
wl_driver.add(gdstk.Label('SEL[15]', (55.06,-4.29), layer=69, texttype=5))
wl_driver.add(gdstk.Label('SEL[16]', (58.45,-4.23), layer=69, texttype=5))
wl_driver.add(gdstk.Label('SEL[17]', (61.78,-4.24), layer=69, texttype=5))
wl_driver.add(gdstk.Label('SEL[18]', (65.12,-4.26), layer=69, texttype=5))
wl_driver.add(gdstk.Label('SEL[19]', (68.51,-4.25), layer=69, texttype=5))
wl_driver.add(gdstk.Label('SEL[20]', (71.87,-4.21), layer=69, texttype=5))
wl_driver.add(gdstk.Label('SEL[21]', (75.2,-4.22), layer=69, texttype=5))
wl_driver.add(gdstk.Label('SEL[22]', (78.54,-4.24), layer=69, texttype=5))
wl_driver.add(gdstk.Label('SEL[23]', (81.93,-4.23), layer=69, texttype=5))
wl_driver.add(gdstk.Label('SEL[24]', (85.36,-4.22), layer=69, texttype=5))
wl_driver.add(gdstk.Label('SEL[25]', (88.69,-4.23), layer=69, texttype=5))
wl_driver.add(gdstk.Label('SEL[26]', (92.03,-4.25), layer=69, texttype=5))
wl_driver.add(gdstk.Label('SEL[27]', (95.42,-4.24), layer=69, texttype=5))
wl_driver.add(gdstk.Label('SEL[28]', (98.77,-4.23), layer=69, texttype=5))
wl_driver.add(gdstk.Label('SEL[29]', (102.1,-4.24), layer=69, texttype=5))
wl_driver.add(gdstk.Label('SEL[30]', (105.44,-4.26), layer=69, texttype=5))
wl_driver.add(gdstk.Label('SEL[31]', (108.83,-4.25), layer=69, texttype=5))

lib.write_gds('wl_driver.gds')
